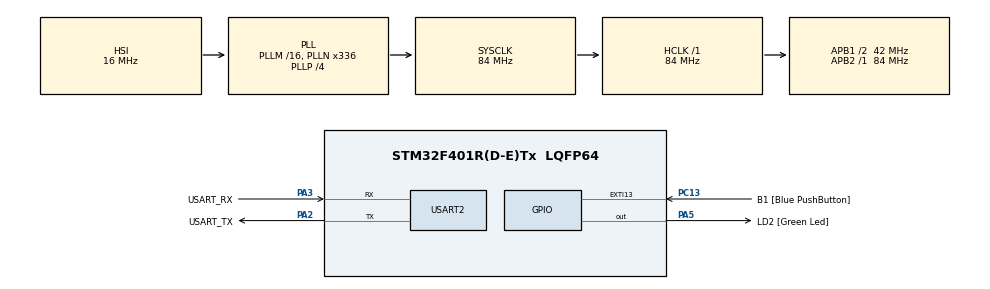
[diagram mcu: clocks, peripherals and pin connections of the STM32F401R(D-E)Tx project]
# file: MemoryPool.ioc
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FREERTOS.Queues01=LEDQueue,16,LEDConfig*,0,Dynamic,NULL,NULL
FREERTOS.Tasks01=defaultTask,0,128,StartDefaultTask,Default,NULL,Dynamic,NULL,NULL
FREERTOS.configUSE_COUNTING_SEMAPHORES=0
FREERTOS.configUSE_TIMERS=0
Mcu.Family=STM32F4
Mcu.Name=STM32F401R(D-E)Tx
Mcu.Package=LQFP64
NVIC.EXTI15_10_IRQn=true\:5\:0\:false\:false\:true\:true\:true\:true
NVIC.PriorityGroup=NVIC_PRIORITYGROUP_4
NVIC.TIM1_TRG_COM_TIM11_IRQn=true\:0\:0\:false\:false\:true\:false\:false\:true
NVIC.TimeBase=TIM1_TRG_COM_TIM11_IRQn
NVIC.TimeBaseIP=TIM11
PA13.GPIO_Label=TMS
PA13.Mode=Trace_Asynchronous_SW
PA13.Signal=SYS_JTMS-SWDIO
PA14.GPIO_Label=TCK
PA14.Mode=Trace_Asynchronous_SW
PA14.Signal=SYS_JTCK-SWCLK
PA2.GPIO_Label=USART_TX
PA2.GPIO_Mode=GPIO_MODE_AF_PP
PA2.GPIO_PuPd=GPIO_NOPULL
PA2.GPIO_Speed=GPIO_SPEED_FREQ_LOW
PA2.Mode=Asynchronous
PA2.Signal=USART2_TX
PA3.GPIO_Label=USART_RX
PA3.GPIO_Mode=GPIO_MODE_AF_PP
PA3.GPIO_PuPd=GPIO_NOPULL
PA3.GPIO_Speed=GPIO_SPEED_FREQ_LOW
PA3.Mode=Asynchronous
PA3.Signal=USART2_RX
PA5.GPIO_Label=LD2 [Green Led]
PA5.GPIO_Mode=GPIO_MODE_OUTPUT_PP
PA5.GPIO_PuPd=GPIO_NOPULL
PA5.GPIO_Speed=GPIO_SPEED_FREQ_LOW
PA5.Signal=GPIO_Output
PB3.GPIO_Label=SWO
PB3.Mode=Trace_Asynchronous_SW
PB3.Signal=SYS_JTDO-SWO
PC13-ANTI_TAMP.GPIO_Label=B1 [Blue PushButton]
PC13-ANTI_TAMP.GPIO_ModeDefaultEXTI=GPIO_MODE_IT_FALLING
PC13-ANTI_TAMP.GPIO_PuPd=GPIO_NOPULL
PC13-ANTI_TAMP.Signal=GPXTI13
PC14-OSC32_IN.Mode=LSE-External-Oscillator
PC14-OSC32_IN.Signal=RCC_OSC32_IN
PC15-OSC32_OUT.Mode=LSE-External-Oscillator
PC15-OSC32_OUT.Signal=RCC_OSC32_OUT
PH0\ -\ OSC_IN.Mode=HSE-External-Clock-Source
PH0\ -\ OSC_IN.Signal=RCC_OSC_IN
PH1\ -\ OSC_OUT.Mode=HSE-External-Clock-Source
PH1\ -\ OSC_OUT.Signal=RCC_OSC_OUT
ProjectManager.HeapSize=0x200
ProjectManager.StackSize=0x400
ProjectManager.TargetToolchain=STM32CubeIDE
RCC.48MHZClocksFreq_Value=48000000
RCC.AHBFreq_Value=84000000
RCC.APB1CLKDivider=RCC_HCLK_DIV2
RCC.APB1Freq_Value=42000000
RCC.APB1TimFreq_Value=84000000
RCC.APB2Freq_Value=84000000
RCC.APB2TimFreq_Value=84000000
RCC.CortexFreq_Value=84000000
RCC.HCLKFreq_Value=84000000
RCC.HSE_VALUE=8000000
RCC.HSI_VALUE=16000000
RCC.PLLN=336
RCC.PLLP=RCC_PLLP_DIV4
RCC.PLLQ=7
RCC.SYSCLKFreq_VALUE=84000000
RCC.SYSCLKSource=RCC_SYSCLKSOURCE_PLLCLK
RCC.VCOOutputFreq_Value=336000000
USART2.VirtualMode=VM_ASYNC
VP_FREERTOS_VS_CMSIS_V1.Mode=CMSIS_V1
VP_SYS_VS_tim11.Mode=TIM11
board=NUCLEO-F401RE

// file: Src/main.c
/* USER CODE BEGIN Header */
/**
  ******************************************************************************
  * @file           : main.c
  * @brief          : Main program body
  ******************************************************************************
  * @attention
  *
  * <h2><center>&copy; Copyright (c) 2019 STMicroelectronics.
  * All rights reserved.</center></h2>
  *
  * This software component is licensed by ST under BSD 3-Clause license,
  * the "License"; You may not use this file except in compliance with the
  * License. You may obtain a copy of the License at:
  *                        opensource.org/licenses/BSD-3-Clause
  *
  ******************************************************************************
  */
/* USER CODE END Header */

#include "main.h"
#include "cmsis_os.h"

/* USER CODE BEGIN Includes */
#include "stdio.h"
/* USER CODE END Includes */

UART_HandleTypeDef huart2;

osThreadId defaultTaskHandle;
osMessageQId LEDQueueHandle;
/* USER CODE BEGIN PV */
typedef struct LEDConfig {
  uint32_t interval;
  uint32_t count;
} LEDConfig;

osPoolId LEDConfigPoolID;

/* USER CODE END PV */

void SystemClock_Config(void);
static void MX_GPIO_Init(void);
static void MX_USART2_UART_Init(void);
void StartDefaultTask(void const * argument);

int main(void)
{

  /* MCU Configuration--------------------------------------------------------*/

  /* Reset of all peripherals, Initializes the Flash interface and the Systick. */
  HAL_Init();

  /* Configure the system clock */
  SystemClock_Config();

  /* Initialize all configured peripherals */
  MX_GPIO_Init();
  MX_USART2_UART_Init();
  /* USER CODE BEGIN 2 */
  osPoolDef(LEDConfigPool, 16, LEDConfig);
  LEDConfigPoolID = osPoolCreate(osPool(LEDConfigPool));

  /* USER CODE END 2 */

  /* Create the queue(s) */
  /* definition and creation of LEDQueue */
  osMessageQDef(LEDQueue, 16, LEDConfig*);
  LEDQueueHandle = osMessageCreate(osMessageQ(LEDQueue), NULL);

  /* Create the thread(s) */
  /* definition and creation of defaultTask */
  osThreadDef(defaultTask, StartDefaultTask, osPriorityNormal, 0, 128);
  defaultTaskHandle = osThreadCreate(osThread(defaultTask), NULL);

  /* Start scheduler */
  osKernelStart();

  /* We should never get here as control is now taken by the scheduler */

  /* Infinite loop */
  while (1)
  {

  }
}

void SystemClock_Config(void)
{
  RCC_OscInitTypeDef RCC_OscInitStruct = {0};
  RCC_ClkInitTypeDef RCC_ClkInitStruct = {0};

  /** Configure the main internal regulator output voltage
  */
  __HAL_RCC_PWR_CLK_ENABLE();
  __HAL_PWR_VOLTAGESCALING_CONFIG(PWR_REGULATOR_VOLTAGE_SCALE2);
  /** Initializes the CPU, AHB and APB busses clocks
  */
  RCC_OscInitStruct.OscillatorType = RCC_OSCILLATORTYPE_HSI;
  RCC_OscInitStruct.HSIState = RCC_HSI_ON;
  RCC_OscInitStruct.HSICalibrationValue = RCC_HSICALIBRATION_DEFAULT;
  RCC_OscInitStruct.PLL.PLLState = RCC_PLL_ON;
  RCC_OscInitStruct.PLL.PLLSource = RCC_PLLSOURCE_HSI;
  RCC_OscInitStruct.PLL.PLLM = 16;
  RCC_OscInitStruct.PLL.PLLN = 336;
  RCC_OscInitStruct.PLL.PLLP = RCC_PLLP_DIV4;
  RCC_OscInitStruct.PLL.PLLQ = 7;
  if (HAL_RCC_OscConfig(&RCC_OscInitStruct) != HAL_OK)
  {
    Error_Handler();
  }
  /** Initializes the CPU, AHB and APB busses clocks
  */
  RCC_ClkInitStruct.ClockType = RCC_CLOCKTYPE_HCLK|RCC_CLOCKTYPE_SYSCLK
                              |RCC_CLOCKTYPE_PCLK1|RCC_CLOCKTYPE_PCLK2;
  RCC_ClkInitStruct.SYSCLKSource = RCC_SYSCLKSOURCE_PLLCLK;
  RCC_ClkInitStruct.AHBCLKDivider = RCC_SYSCLK_DIV1;
  RCC_ClkInitStruct.APB1CLKDivider = RCC_HCLK_DIV2;
  RCC_ClkInitStruct.APB2CLKDivider = RCC_HCLK_DIV1;

  if (HAL_RCC_ClockConfig(&RCC_ClkInitStruct, FLASH_LATENCY_2) != HAL_OK)
  {
    Error_Handler();
  }
}

static void MX_USART2_UART_Init(void)
{

  huart2.Instance = USART2;
  huart2.Init.BaudRate = 115200;
  huart2.Init.WordLength = UART_WORDLENGTH_8B;
  huart2.Init.StopBits = UART_STOPBITS_1;
  huart2.Init.Parity = UART_PARITY_NONE;
  huart2.Init.Mode = UART_MODE_TX_RX;
  huart2.Init.HwFlowCtl = UART_HWCONTROL_NONE;
  huart2.Init.OverSampling = UART_OVERSAMPLING_16;
  if (HAL_UART_Init(&huart2) != HAL_OK)
  {
    Error_Handler();
  }

}

static void MX_GPIO_Init(void)
{
  GPIO_InitTypeDef GPIO_InitStruct = {0};

  /* GPIO Ports Clock Enable */
  __HAL_RCC_GPIOC_CLK_ENABLE();
  __HAL_RCC_GPIOH_CLK_ENABLE();
  __HAL_RCC_GPIOA_CLK_ENABLE();
  __HAL_RCC_GPIOB_CLK_ENABLE();

  /*Configure GPIO pin Output Level */
  HAL_GPIO_WritePin(LD2_GPIO_Port, LD2_Pin, GPIO_PIN_RESET);

  /*Configure GPIO pin : B1_Pin */
  GPIO_InitStruct.Pin = B1_Pin;
  GPIO_InitStruct.Mode = GPIO_MODE_IT_FALLING;
  GPIO_InitStruct.Pull = GPIO_NOPULL;
  HAL_GPIO_Init(B1_GPIO_Port, &GPIO_InitStruct);

  /*Configure GPIO pin : LD2_Pin */
  GPIO_InitStruct.Pin = LD2_Pin;
  GPIO_InitStruct.Mode = GPIO_MODE_OUTPUT_PP;
  GPIO_InitStruct.Pull = GPIO_NOPULL;
  GPIO_InitStruct.Speed = GPIO_SPEED_FREQ_LOW;
  HAL_GPIO_Init(LD2_GPIO_Port, &GPIO_InitStruct);

  /* EXTI interrupt init*/
  HAL_NVIC_SetPriority(EXTI15_10_IRQn, 5, 0);
  HAL_NVIC_EnableIRQ(EXTI15_10_IRQn);

}

/* USER CODE BEGIN 4 */
static uint32_t index;
void HAL_GPIO_EXTI_Callback(uint16_t GPIO_Pin)
{
  LEDConfig *conf = osPoolAlloc(LEDConfigPoolID);
  conf->interval = 500 * index;
  conf->count = 20 / index;
  osMessagePut(LEDQueueHandle, (uint32_t)conf, 0);

  index++;
  if (index > 2) {
    index = 1;
  }
}
/* USER CODE END 4 */

void StartDefaultTask(void const * argument)
{

  /* USER CODE BEGIN 5 */
  /* Infinite loop */
  for(;;)
  {
    osEvent event = osMessageGet(LEDQueueHandle, osWaitForever);
    if (event.status == osEventMessage) {
      LEDConfig *conf = (LEDConfig*)event.value.p;
      for (uint16_t i = 0; i < conf->count; i++) {
        HAL_GPIO_TogglePin(LD2_GPIO_Port, LD2_Pin);
        osDelay(conf->interval);
      }
      osPoolFree(LEDConfigPoolID, conf);
    }
  }
  /* USER CODE END 5 */
}

void HAL_TIM_PeriodElapsedCallback(TIM_HandleTypeDef *htim)
{
  if (htim->Instance == TIM11) {
    HAL_IncTick();
  }
}

void Error_Handler(void)
{
}

/************************ (C) COPYRIGHT STMicroelectronics *****END OF FILE****/
